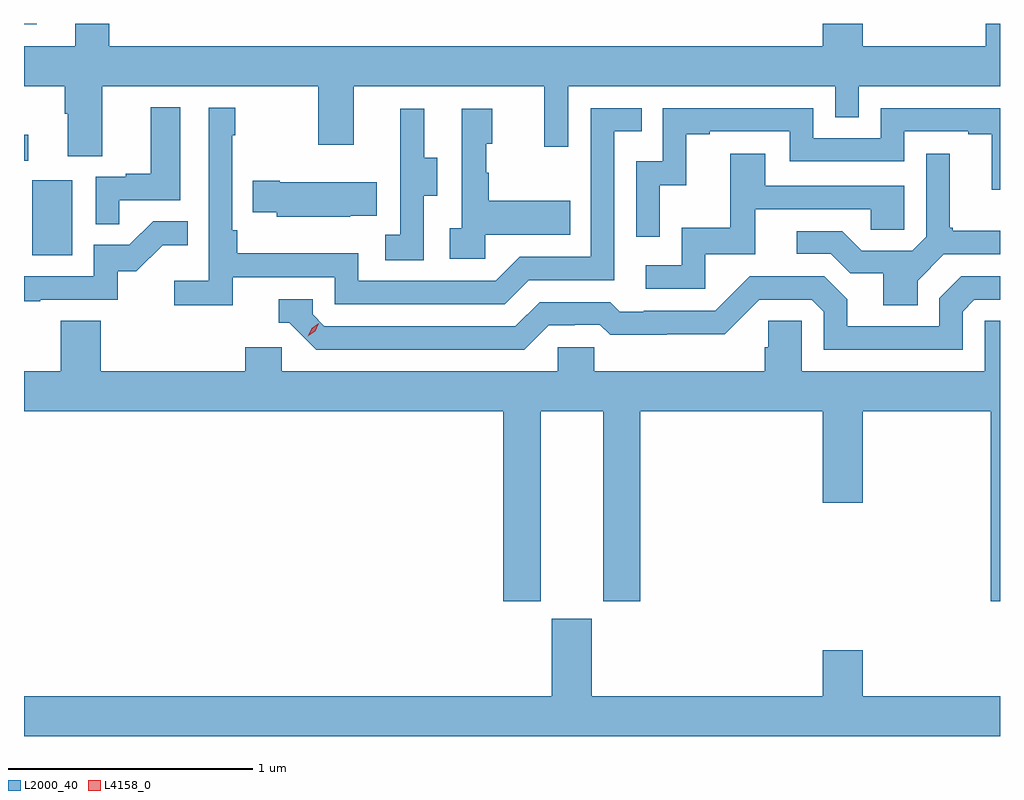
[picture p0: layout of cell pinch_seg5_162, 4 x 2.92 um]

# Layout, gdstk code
import gdstk
lib = gdstk.Library(unit=1e-6, precision=1e-09)
def R(c, l, rs):  # rectangles x0, y0, x1, y1
    for r in rs: c.add(gdstk.rectangle(r[:2], r[2:], *l))
def P(c, l, *ps):  # polygons
    for p in ps: c.add(gdstk.Polygon(p, *l))
L2000_40 = (2000, 40)
L4158_0 = (4158, 0)

pinch_seg5_162 = lib.new_cell('pinch_seg5_162')
R(pinch_seg5_162, L2000_40, [(1084.844,882.708,1085.008,883.015), (1084.811,883.095,1084.828,883.201), (1084.811,883.655,1084.864,883.657)])
P(pinch_seg5_162, L2000_40, [(1085.131,883.4),(1086.016,883.4),(1086.016,883.161),(1086.163,883.161),(1086.163,883.4),(1086.944,883.4),(1086.944,883.152),(1087.041,883.152),(1087.041,883.4),(1088.136,883.4),(1088.136,883.273),(1088.232,883.273),(1088.232,883.4),(1088.811,883.4),(1088.811,883.657),(1088.753,883.657),(1088.753,883.564),(1088.248,883.564),(1088.248,883.657),(1088.084,883.657),(1088.084,883.564),(1085.161,883.564),(1085.161,883.657),(1085.021,883.657),(1085.021,883.564),(1084.811,883.564),(1084.811,883.4),(1084.979,883.4),(1084.979,883.288),(1084.991,883.288),(1084.991,883.114),(1085.131,883.114)],
  [(1085.201,882.933),(1085.452,882.933),(1085.452,883.315),(1085.33,883.315),(1085.33,883.042),(1085.227,883.042),(1085.227,883.029),(1085.106,883.029),(1085.106,882.835),(1085.201,882.835)],
  [(1085.666,882.618),(1086.084,882.618),(1086.084,882.507),(1086.781,882.507),(1086.88,882.606),(1087.23,882.606),(1087.23,883.215),(1087.343,883.215),(1087.343,883.311),(1087.134,883.311),(1087.134,882.702),(1086.843,882.702),(1086.744,882.603),(1086.18,882.603),(1086.18,882.715),(1085.684,882.715),(1085.684,882.811),(1085.664,882.811),(1085.664,883.199),(1085.677,883.199),(1085.677,883.312),(1085.568,883.312),(1085.568,882.604),(1085.427,882.604),(1085.427,882.502),(1085.666,882.502)],
  [(1087.416,882.995),(1087.526,882.995),(1087.526,883.203),(1087.621,883.203),(1087.621,883.215),(1087.95,883.215),(1087.95,883.092),(1088.418,883.092),(1088.418,883.215),(1088.681,883.215),(1088.681,883.203),(1088.777,883.203),(1088.777,882.977),(1088.811,882.977),(1088.811,883.311),(1088.322,883.311),(1088.322,883.188),(1088.046,883.188),(1088.046,883.311),(1087.428,883.311),(1087.428,883.092),(1087.32,883.092),(1087.32,882.783),(1087.416,882.783)],
  [(1086.702,882.791),(1087.049,882.791),(1087.049,882.931),(1086.715,882.931),(1086.715,883.046),(1086.705,883.046),(1086.705,883.164),(1086.73,883.164),(1086.73,883.309),(1086.606,883.309),(1086.606,882.818),(1086.555,882.818),(1086.555,882.693),(1086.702,882.693)],
  [(1086.45,882.952),(1086.505,882.952),(1086.505,883.107),(1086.451,883.107),(1086.451,883.309),(1086.353,883.309),(1086.353,883.095),(1086.354,883.095),(1086.354,882.791),(1086.291,882.791),(1086.291,882.688),(1086.45,882.688)],
  [(1087.602,882.711),(1087.807,882.711),(1087.807,882.897),(1088.281,882.897),(1088.281,882.813),(1088.418,882.813),(1088.418,882.993),(1087.849,882.993),(1087.849,883.123),(1087.705,883.123),(1087.705,882.82),(1087.506,882.82),(1087.506,882.666),(1087.359,882.666),(1087.359,882.57),(1087.602,882.57)],
  [(1088.473,882.604),(1088.58,882.711),(1088.811,882.711),(1088.811,882.808),(1088.617,882.808),(1088.617,882.82),(1088.605,882.82),(1088.605,883.123),(1088.508,883.123),(1088.508,882.783),(1088.451,882.726),(1088.245,882.726),(1088.164,882.807),(1087.977,882.807),(1087.977,882.714),(1088.118,882.714),(1088.198,882.634),(1088.333,882.634),(1088.333,882.502),(1088.473,882.502)],
  [(1086.149,882.869),(1086.257,882.869),(1086.257,883.006),(1085.86,883.006),(1085.86,883.014),(1085.749,883.014),(1085.749,882.884),(1085.847,882.884),(1085.847,882.866),(1086.149,882.866)],
  [(1084.877,882.525),(1085.196,882.525),(1085.196,882.642),(1085.272,882.642),(1085.379,882.749),(1085.483,882.749),(1085.483,882.848),(1085.34,882.848),(1085.242,882.75),(1085.097,882.75),(1085.097,882.621),(1084.811,882.621),(1084.811,882.52),(1084.877,882.52)],
  [(1086.961,882.42),(1087.068,882.42),(1087.068,882.423),(1087.171,882.423),(1087.213,882.381),(1087.446,882.381),(1087.446,882.383),(1087.682,882.383),(1087.824,882.525),(1088.04,882.525),(1088.088,882.477),(1088.088,882.321),(1088.658,882.321),(1088.658,882.477),(1088.706,882.525),(1088.811,882.525),(1088.811,882.621),(1088.652,882.621),(1088.562,882.531),(1088.562,882.417),(1088.185,882.417),(1088.185,882.527),(1088.091,882.621),(1087.785,882.621),(1087.644,882.48),(1087.351,882.48),(1087.351,882.477),(1087.252,882.477),(1087.213,882.516),(1086.924,882.516),(1086.825,882.417),(1086.042,882.417),(1085.994,882.465),(1085.994,882.528),(1085.855,882.528),(1085.855,882.432),(1085.898,882.432),(1086.009,882.321),(1086.862,882.321)],
  [(1086.928,882.068),(1087.184,882.068),(1087.184,881.289),(1087.337,881.289),(1087.337,882.068),(1088.084,882.068),(1088.084,881.694),(1088.248,881.694),(1088.248,882.068),(1088.774,882.068),(1088.774,881.289),(1088.811,881.289),(1088.811,882.44),(1088.748,882.44),(1088.748,882.232),(1087.998,882.232),(1087.998,882.44),(1087.861,882.44),(1087.861,882.33),(1087.847,882.33),(1087.847,882.232),(1087.149,882.232),(1087.149,882.33),(1086.999,882.33),(1086.999,882.232),(1085.868,882.232),(1085.868,882.33),(1085.717,882.33),(1085.717,882.232),(1085.126,882.232),(1085.126,882.44),(1084.961,882.44),(1084.961,882.232),(1084.811,882.232),(1084.811,882.068),(1086.776,882.068),(1086.776,881.289),(1086.928,881.289)],
  [(1088.811,880.9),(1088.248,880.9),(1088.248,881.089),(1088.084,881.089),(1088.084,880.9),(1087.138,880.9),(1087.138,881.217),(1086.974,881.217),(1086.974,880.9),(1084.811,880.9),(1084.811,880.736),(1088.811,880.736)])
P(pinch_seg5_162, L4158_0, [(1085.974,882.376),(1085.974,882.376),(1085.99,882.409),(1086.02,882.429),(1086.02,882.429),(1086.02,882.429),(1086.005,882.396),(1085.974,882.376)])

lib.write_gds('pinch_seg5_162.gds')
